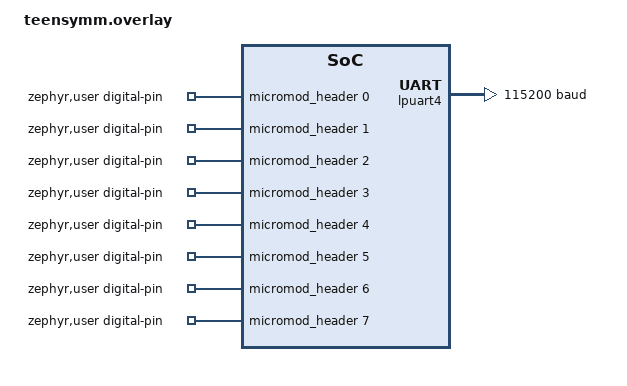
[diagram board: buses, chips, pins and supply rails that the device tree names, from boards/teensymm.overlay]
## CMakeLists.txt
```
# SPDX-License-Identifier: Apache-2.0

cmake_minimum_required(VERSION 3.20.0)
find_package(Zephyr REQUIRED HINTS $ENV{ZEPHYR_BASE})
project(usb_to_serial)

#include(../common/common.cmake)
FILE(GLOB app_sources src/*.cpp  app_sources src/*.c app_sources ../common/src/*.cpp)
target_include_directories(app PRIVATE ../common/include )
target_sources(app PRIVATE ${app_sources})
```

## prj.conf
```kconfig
#CONFIG_STDOUT_CONSOLE=y
CONFIG_USB_DEVICE_STACK=y
CONFIG_LOG=y
CONFIG_USB_DRIVER_LOG_LEVEL_ERR=y
CONFIG_USB_DEVICE_LOG_LEVEL_ERR=y
CONFIG_SERIAL=y
CONFIG_UART_INTERRUPT_DRIVEN=y
CONFIG_UART_LINE_CTRL=y
CONFIG_USB_DEVICE_INITIALIZE_AT_BOOT=n
CONFIG_GPIO=y
CONFIG_STATIC_INIT_GNU=y

# Enable uart driver
CONFIG_SERIAL=y

CONFIG_SHELL=y
CONFIG_SHELL_STACK_SIZE=2048
CONFIG_SHELL_CMD_BUFF_SIZE=2048
CONFIG_SHELL_LOG_LEVEL_DBG=n

# Console
CONFIG_CONSOLE=y
CONFIG_UART_CONSOLE=y
#CONFIG_USB_CDC_ACM_LOG_LEVEL_DBG=y
```

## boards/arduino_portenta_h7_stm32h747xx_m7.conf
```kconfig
CONFIG_USB_DEVICE_STACK=y
CONFIG_USB_DEVICE_PRODUCT="Arduino Portenta H7"
CONFIG_USB_DEVICE_MANUFACTURER="Arduino"
CONFIG_USB_DEVICE_VID=0x2341
CONFIG_USB_DEVICE_PID=0x005b

CONFIG_USB_DEVICE_PRODUCT="Arduino Portenta H7"
CONFIG_USB_DEVICE_MANUFACTURER="Arduino"
CONFIG_USB_DEVICE_VID=0x2341
CONFIG_USB_DEVICE_PID=0x005b
```

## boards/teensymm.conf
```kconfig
CONFIG_USB_DEVICE_VID=0x16c0
CONFIG_USB_DEVICE_PID=0x0483
CONFIG_USB_DEVICE_PRODUCT="Teensy Micromod"
CONFIG_USB_DEVICE_MANUFACTURER="PJRC"
```

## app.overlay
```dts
/*
 * Copyright (c) 2021 Nordic Semiconductor ASA
 *
 * SPDX-License-Identifier: Apache-2.0
 */

&zephyr_udc0 {
	cdc_acm_uart0 {
		compatible = "zephyr,cdc-acm-uart";
		label = "Zephyr USB CDC-ACM";
	};
};
```

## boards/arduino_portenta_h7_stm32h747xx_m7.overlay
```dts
/ {
	chosen {
		zephyr,console = &usart6;
		zephyr,shell-uart = &usart6;
		zephyr,cdc-acm-uart0 = &usart6;
		uart,passthrough = &usart1; // Teensy pins 7(RX) 8(TX)
	};
};

&usart1 {
	status = "okay";
};


&usart6 {
	status = "okay";
};
```

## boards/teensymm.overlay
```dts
/ {
	zephyr,user {
		digital-pin-gpios = <&micromod_header 0 0>,
						<&micromod_header 1 0>,
						<&micromod_header 2 0>,
						<&micromod_header 3 0>,
						<&micromod_header 4 0>,
						<&micromod_header 5 0>,
						<&micromod_header 6 0>,
						<&micromod_header 7 0>,
						<&micromod_header 8 0>,
						<&micromod_header 9 0>,
						<&micromod_header 10 0>,
						<&micromod_header 11 0>,
						<&micromod_header 12 0>,
						<&micromod_header 13 0>,
						<&micromod_header 14 0>,
						<&micromod_header 15 0>,
						<&micromod_header 16 0>,
						<&micromod_header 17 0>;
	};						

	chosen {
		uart,passthrough = &lpuart4; // Teensy pins 7(RX) 8(TX)
	};
};

&lpuart4 {
	current-speed = <115200>;
	status = "okay";
};
```

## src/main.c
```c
/*
 * Copyright (c) 2019 Intel Corporation
 *
 * SPDX-License-Identifier: Apache-2.0
 */

/**
 * @file
 * @brief Sample echo app for CDC ACM class
 *
 * Sample app for USB CDC ACM class driver. The received data is echoed back
 * to the serial port.
 */

#include <sample_usbd.h>

#include <stdio.h>
#include <string.h>
#include <zephyr/device.h>
#include <zephyr/drivers/uart.h>
#include <zephyr/kernel.h>
#include <zephyr/sys/ring_buffer.h>

#include <zephyr/usb/usb_device.h>
#include <zephyr/usb/usbd.h>
#include <zephyr/logging/log.h>
#include <zephyr/drivers/gpio.h>

LOG_MODULE_REGISTER(cdc_acm_echo, LOG_LEVEL_INF);


static const struct gpio_dt_spec connector_pins[] = {DT_FOREACH_PROP_ELEM_SEP(
    DT_PATH(zephyr_user), digital_pin_gpios, GPIO_DT_SPEC_GET_BY_IDX, (, ))};

const struct device *const usb_uart_dev = DEVICE_DT_GET_ONE(zephyr_cdc_acm_uart);
const struct device *const serial_dev = DEVICE_DT_GET(DT_CHOSEN(uart_passthrough));
#define RING_BUF_SIZE 1024
uint8_t ring_buffer[RING_BUF_SIZE];

struct ring_buf ringbuf;

static bool rx_throttled;

// lets add LED
/* The devicetree node identifier for the "led0" alias. */
#define LED0_NODE DT_ALIAS(led0)
static const struct gpio_dt_spec led = GPIO_DT_SPEC_GET(LED0_NODE, gpios);

static inline void print_baudrate(const struct device *dev)
{
	uint32_t baudrate;
	int ret;

	ret = uart_line_ctrl_get(dev, UART_LINE_CTRL_BAUD_RATE, &baudrate);
	if (ret) {
		LOG_WRN("Failed to get baudrate, ret code %d", ret);
	} else {
		LOG_INF("Baudrate %u", baudrate);
	}
}

#if defined(CONFIG_USB_DEVICE_STACK_NEXT)
static struct usbd_context *sample_usbd;
K_SEM_DEFINE(dtr_sem, 0, 1);

static void sample_msg_cb(struct usbd_context *const ctx, const struct usbd_msg *msg)
{
	LOG_INF("USBD message: %s", usbd_msg_type_string(msg->type));

	if (usbd_can_detect_vbus(ctx)) {
		if (msg->type == USBD_MSG_VBUS_READY) {
			if (usbd_enable(ctx)) {
				LOG_ERR("Failed to enable device support");
			}
		}

		if (msg->type == USBD_MSG_VBUS_REMOVED) {
			if (usbd_disable(ctx)) {
				LOG_ERR("Failed to disable device support");
			}
		}
	}

	if (msg->type == USBD_MSG_CDC_ACM_CONTROL_LINE_STATE) {
		uint32_t dtr = 0U;

		uart_line_ctrl_get(msg->dev, UART_LINE_CTRL_DTR, &dtr);
		if (dtr) {
			k_sem_give(&dtr_sem);
		}
	}

	if (msg->type == USBD_MSG_CDC_ACM_LINE_CODING) {
		print_baudrate(msg->dev);
	}
}

static int enable_usb_device_next(void)
{
	int err;

	sample_usbd = sample_usbd_init_device(sample_msg_cb);
	if (sample_usbd == NULL) {
		LOG_ERR("Failed to initialize USB device");
		return -ENODEV;
	}

	if (!usbd_can_detect_vbus(sample_usbd)) {
		err = usbd_enable(sample_usbd);
		if (err) {
			LOG_ERR("Failed to enable device support");
			return err;
		}
	}

	LOG_INF("USB device support enabled");

	return 0;
}
#endif /* defined(CONFIG_USB_DEVICE_STACK_NEXT) */

static void interrupt_handler(const struct device *dev, void *user_data)
{
	ARG_UNUSED(user_data);
	while (uart_irq_update(dev) && uart_irq_is_pending(dev)) {
		if (!rx_throttled && uart_irq_rx_ready(dev)) {
			int recv_len, rb_len;
			uint8_t buffer[64];
			size_t len = MIN(ring_buf_space_get(&ringbuf),
					 sizeof(buffer));

			if (len == 0) {
				/* Throttle because ring buffer is full */
				uart_irq_rx_disable(dev);
				rx_throttled = true;
				continue;
			}

			gpio_pin_toggle_dt(&led);
			recv_len = uart_fifo_read(dev, buffer, len);
			if (recv_len < 0) {
				LOG_ERR("Failed to read UART FIFO");
				recv_len = 0;
			};

			rb_len = ring_buf_put(&ringbuf, buffer, recv_len);
			if (rb_len < recv_len) {
				LOG_ERR("Drop %u bytes", recv_len - rb_len);
			}

			LOG_DBG("tty fifo -> ringbuf %d bytes", rb_len);
			if (rb_len) {
				uart_irq_tx_enable(dev);
			}
		}

		if (uart_irq_tx_ready(dev)) {
			uint8_t buffer[64];
			int rb_len, send_len;

			rb_len = ring_buf_get(&ringbuf, buffer, sizeof(buffer));
			if (!rb_len) {
				LOG_DBG("Ring buffer empty, disable TX IRQ");
				uart_irq_tx_disable(dev);
				continue;
			}

			if (rx_throttled) {
				uart_irq_rx_enable(dev);
				rx_throttled = false;
			}

			send_len = uart_fifo_fill(dev, buffer, rb_len);
			if (send_len < rb_len) {
				LOG_ERR("Drop %d bytes", rb_len - send_len);
			}

			LOG_DBG("ringbuf -> tty fifo %d bytes", send_len);
		}
	}
}

int main(void)
{
	int ret;

	if (!device_is_ready(usb_uart_dev)) {
		LOG_ERR("CDC ACM device not ready");
		return 0;
	}

	if (!device_is_ready(serial_dev)) {
		LOG_ERR("Serial device not ready");
		return 0;
	}
	

	if (!gpio_is_ready_dt(&led)) {
		LOG_ERR("LED device not ready");
		return 0;
	}


	ret = gpio_pin_configure_dt(&led, GPIO_OUTPUT_ACTIVE);
	if (ret < 0) {
		return 0;
	}

	printk("Print connector pins\n");
  for (size_t i = 0; i < ARRAY_SIZE(connector_pins); i++) {
  	printk("%u %p %u\n", i, connector_pins[i].port, connector_pins[i].pin);
  }


#if defined(CONFIG_USB_DEVICE_STACK_NEXT)
		ret = enable_usb_device_next();
#else
		ret = usb_enable(NULL);
#endif

	if (ret != 0) {
		LOG_ERR("Failed to enable USB");
		return 0;
	}

	ring_buf_init(&ringbuf, sizeof(ring_buffer), ring_buffer);

	LOG_INF("Wait for DTR");

#if defined(CONFIG_USB_DEVICE_STACK_NEXT)
	k_sem_take(&dtr_sem, K_FOREVER);
#else
	while (true) {
		uint32_t dtr = 0U;

		uart_line_ctrl_get(usb_uart_dev, UART_LINE_CTRL_DTR, &dtr);
		if (dtr) {
			break;
		} else {
			/* Give CPU resources to low priority threads. */
			k_sleep(K_MSEC(100));
		}
	}
#endif

	LOG_INF("DTR set");

	/* They are optional, we use them to test the interrupt endpoint */
	ret = uart_line_ctrl_set(usb_uart_dev, UART_LINE_CTRL_DCD, 1);
	if (ret) {
		LOG_WRN("Failed to set DCD, ret code %d", ret);
	}

	ret = uart_line_ctrl_set(usb_uart_dev, UART_LINE_CTRL_DSR, 1);
	if (ret) {
		LOG_WRN("Failed to set DSR, ret code %d", ret);
	}

	/* Wait 100ms for the host to do all settings */
	k_msleep(100);

#ifndef CONFIG_USB_DEVICE_STACK_NEXT
	print_baudrate(usb_uart_dev);
#endif
	uart_irq_callback_set(usb_uart_dev, interrupt_handler);

	/* Enable rx interrupts */
	uart_irq_rx_enable(usb_uart_dev);

	return 0;
}
```

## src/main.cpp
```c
/*
 * Copyright (c) 2019 Intel Corporation
 *
 * SPDX-License-Identifier: Apache-2.0
 */

/**
 * @file
 * @brief Sample echo app for CDC ACM class
 *
 * Sample app for USB CDC ACM class driver. The received data is echoed back
 * to the serial port.
 */

//#include <sample_usbd.h>

#include <stdio.h>
#include <string.h>
#include <zephyr/device.h>
#include <zephyr/drivers/uart.h>
#include <zephyr/kernel.h>
#include <zephyr/sys/ring_buffer.h>

#include <zephyr/usb/usb_device.h>
#include <zephyr/usb/usbd.h>
#include <zephyr/logging/log.h>
#include <zephyr/drivers/gpio.h>

LOG_MODULE_REGISTER(main, LOG_LEVEL_INF);

#include "UARTDevice.h"
#include "USBSerialDevice.h"

#if 0
static const struct gpio_dt_spec connector_pins[] = {DT_FOREACH_PROP_ELEM_SEP(
    DT_PATH(zephyr_user), digital_pin_gpios, GPIO_DT_SPEC_GET_BY_IDX, (, ))};
#endif 

const struct device *const serial_dev = DEVICE_DT_GET(DT_CHOSEN(uart_passthrough));

UARTDevice SerialX(serial_dev);


inline int min(int a, int b) {
	return (a <= b)? a : b;
}

// lets add LED
/* The devicetree node identifier for the "led0" alias. */
#define LED0_NODE DT_ALIAS(led0)
static const struct gpio_dt_spec led = GPIO_DT_SPEC_GET(LED0_NODE, gpios);



int main(void)
{
	int ret;


	if (!gpio_is_ready_dt(&led)) {

		LOG_ERR("LED device not ready");
		return 0;
	}


	ret = gpio_pin_configure_dt(&led, GPIO_OUTPUT_ACTIVE);
	if (ret < 0) {
		return 0;
	}

	USBSerial.begin();
	SerialX.begin();
	USBSerial.println("USBToSerial test");

#if 0
	USBSerial.print("Print connector pins\n");
  	for (size_t i = 0; i < ARRAY_SIZE(connector_pins); i++) {
  		USBSerial.printf("%u %p %u\n", i, connector_pins[i].port, connector_pins[i].pin);
  	}
#endif

  	// Main loop, would be nice if we setup events for the two RX queues, but startof KISS
  	for (;;) {
  		uint8_t buffer[80];
  		int avail_read, avail_write, cb, cb_read;

  		avail_read = USBSerial.available();
  		if (avail_read) {
  			avail_write = SerialX.availableForWrite();
  			cb = min((int)sizeof(buffer), min(avail_read, avail_write));
  			if (cb) {
  				cb_read = USBSerial.read(buffer, cb);
  				SerialX.write(buffer, cb_read);
  			}
  		}

  		avail_read = SerialX.available();
  		if (avail_read) {
  			avail_write = USBSerial.availableForWrite();
  			cb = min((int)sizeof(buffer), min(avail_read, avail_write));
  			if (cb) {
  				cb_read = SerialX.read(buffer, cb);
  				USBSerial.write(buffer, cb_read);
  			}
  		}



  	}


	return 0;
}
```

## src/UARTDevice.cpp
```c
#include "UARTDevice.h"
#include <zephyr/logging/log.h>

// This is more or less the same as the Arduino wrapper...

void UARTDevice::begin() {
	if (!device_is_ready(_uart)) {
		printk("ERROR: UART device not ready");
		return;;
	}
	// probably more later, just make sure rx is setup as well as our handler
	uart_irq_callback_user_data_set(_uart, UARTDevice::interrupt_handler, this);

	// Clear the two buffers.
	k_sem_take(&_rx_sem, K_FOREVER);
	ring_buf_reset(&_rx_ringbuf);
	k_sem_give(&_rx_sem);

	k_sem_take(&_tx_sem, K_FOREVER);
	ring_buf_reset(&_tx_ringbuf);
	k_sem_give(&_tx_sem);

	// Enable the RX interrupt.
	uart_irq_rx_enable(_uart);
}


void UARTDevice::flush() {
	while (ring_buf_size_get(&_tx_ringbuf) > 0) {
		k_yield();
	}
	while (uart_irq_tx_complete(_uart) == 0){
		k_yield();
	}

}

size_t UARTDevice::write(const uint8_t *buffer, size_t size) {
	int idx = 0;

	while (1) {
		k_sem_take(&_tx_sem, K_FOREVER);
		auto ret = ring_buf_put(&_tx_ringbuf, &buffer[idx], size-idx);
		k_sem_give(&_tx_sem);
		if (ret < 0) {
			return 0;
		}
		idx += ret;
		if (ret == 0) {
			uart_irq_tx_enable(_uart);
			k_yield();
		}
		if (idx == size) {
			break;
		}
	}

	uart_irq_tx_enable(_uart);

	return size;

}

size_t UARTDevice::print(const char *sz) {
	return write((const uint8_t*)sz, strlen(sz));
}



size_t UARTDevice::printf(const char *format, ...) {
	char buffer[80];
	va_list ap;
	va_start(ap, format);
	int cb_ret = vsnprintf(buffer, sizeof(buffer),format, ap);
	write((const uint8_t*)buffer, cb_ret);
	return cb_ret;
}


int UARTDevice::available() {
	int ret;

	k_sem_take(&_rx_sem, K_FOREVER);
	ret = ring_buf_size_get(&_rx_ringbuf);
	k_sem_give(&_rx_sem);

	return ret;

}

int UARTDevice::availableForWrite() {
	int ret;

	k_sem_take(&_rx_sem, K_FOREVER);
	ret = ring_buf_space_get(&_rx_ringbuf);
	k_sem_give(&_rx_sem);

	return ret;

}

int UARTDevice::peek() {
	uint8_t data;
	k_sem_take(&_rx_sem, K_FOREVER);
	uint32_t cb_ret = ring_buf_peek(&_rx_ringbuf, &data, 1);
	k_sem_give(&_rx_sem);

	return cb_ret? data : -1;

}

int UARTDevice::read(uint8_t *buffer, size_t size) {// currently not like Arduino only what is there...
    k_sem_take(&_rx_sem, K_FOREVER);
    uint32_t cb_ret = ring_buf_get(&_rx_ringbuf, buffer, size);
	k_sem_give(&_rx_sem);

	return cb_ret;
}


int UARTDevice::read() {
	uint8_t data;

    k_sem_take(&_rx_sem, K_FOREVER);
    uint32_t cb_ret = ring_buf_get(&_rx_ringbuf, &data, 1);
	k_sem_give(&_rx_sem);

	return cb_ret? data : -1;

}


void UARTDevice::interrupt_handler(const struct device *dev, void *data) {
	reinterpret_cast<UARTDevice *>(data)->_process_interrupt();
}

// I am not going to have the IRQ take the semaphores for now...

void UARTDevice::_process_interrupt() {
	uint8_t buf[8];
	int length;
	int ret = 0;

	if (!uart_irq_update(_uart)) {
		return;
	}

	while (uart_irq_rx_ready(_uart) && ((length = uart_fifo_read(_uart, buf, sizeof(buf))) > 0)) {
		if (length > (int)sizeof(buf)) length = (int)sizeof(buf);
		ret = ring_buf_put(&_rx_ringbuf, &buf[0], length);

		if (ret < 0) {
			break;
		}
	}


	while (uart_irq_tx_ready(_uart) && ((length = ring_buf_size_get(&_tx_ringbuf)) > 0)) {
		if (length > (int)sizeof(buf)) length = (int)sizeof(buf);
		ring_buf_peek(&_tx_ringbuf, &buf[0], length);

		ret = uart_fifo_fill(_uart, &buf[0], length);
		if (ret < 0) {
			break;
		} else {
			ring_buf_get(&_tx_ringbuf, &buf[0], ret);
		}
	}

	if (ring_buf_size_get(&_tx_ringbuf) == 0) {
		uart_irq_tx_disable(_uart);
	}

}
```

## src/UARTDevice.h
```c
#ifndef _UARTDEVICE_H_
#define _UARTDEVICE_H_
#include <stdio.h>
#include <string.h>
#include <zephyr/device.h>
#include <zephyr/drivers/uart.h>
#include <zephyr/kernel.h>
#include <zephyr/sys/ring_buffer.h>

class UARTDevice {
public:
	UARTDevice(const struct device *const uart) : _uart(uart) {
		k_sem_init(&_rx_sem, 1, 1);
		ring_buf_init(&_rx_ringbuf, sizeof(_rx_buffer), _rx_buffer);
		k_sem_init(&_tx_sem, 1, 1);
		ring_buf_init(&_tx_ringbuf, sizeof(_tx_buffer), _tx_buffer);
	}

	enum {RX_BUFFER_SIZE=512, TX_BUFFER_SIZE=512};


	void begin(); // currently using the information from the device tree
	void flush();
	void end() { }
	size_t write(const uint8_t *buffer, size_t size);
	size_t write(const uint8_t data) { return write(&data, 1); }
	size_t print(const char *sz);
	size_t printf(const char *format, ...);
	int available();
  	int availableForWrite();
	int peek();
	int read(uint8_t *buffer, size_t size); // currently not like Arduino only what is there...
	int read();


	uint8_t _rx_buffer[RX_BUFFER_SIZE];
	struct ring_buf _rx_ringbuf;
	struct k_sem _rx_sem;

	uint8_t _tx_buffer[TX_BUFFER_SIZE];
	struct ring_buf _tx_ringbuf;
	struct k_sem _tx_sem;

//protected:
	static void interrupt_handler(const struct device *dev, void *user_data);
	void _process_interrupt();
	const struct device *const _uart;
};


#endif
```
